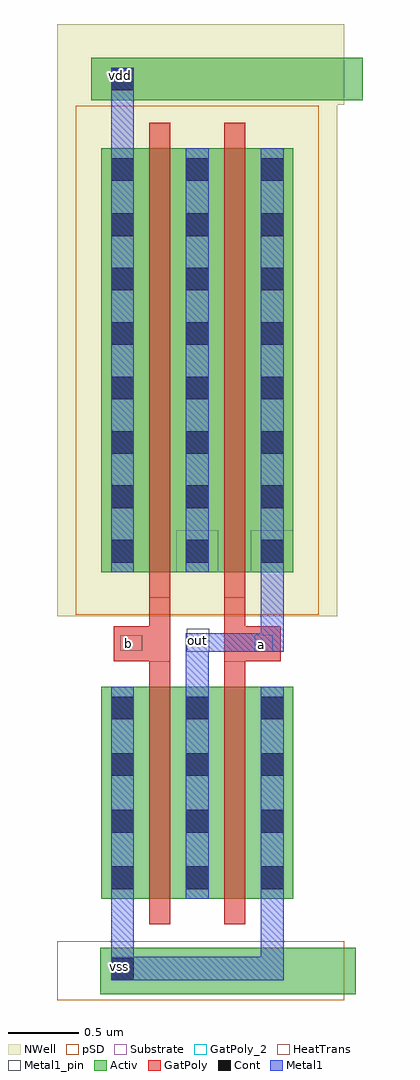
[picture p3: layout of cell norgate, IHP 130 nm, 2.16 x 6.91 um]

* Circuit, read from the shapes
.subckt norgate a b out vdd vss
XM1 out b vss vss sg13_lv_nmos w=1.5u l=0.15u
XM2 vss a out vss sg13_lv_nmos w=1.5u l=0.15u
XM3 n1 b vdd vdd sg13_lv_pmos w=3u l=0.15u
XM4 out a n1 vdd sg13_lv_pmos w=3u l=0.15u
.ends

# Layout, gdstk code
from math import pi, radians
import gdstk
lib = gdstk.Library(unit=1e-6, precision=5e-09)
def R(c, l, rs):  # rectangles x0, y0, x1, y1
    for r in rs: c.add(gdstk.rectangle(r[:2], r[2:], *l))
def A(c, l, x, y, w, h, nx, ny, dx, dy):  # array of equal rectangles
    R(c, l, [(x+i*dx, y+j*dy, x+i*dx+w, y+j*dy+h) for i in range(nx) for j in range(ny)])
Activ = (1, 0)
GatPoly = (5, 0)
GatPoly_2 = (5, 2)
Cont = (6, 0)
Metal1 = (8, 0)
Metal1_pin = (8, 2)
pSD = (14, 0)
NWell = (31, 0)
Substrate = (40, 0)
HeatTrans = (51, 0)

nmos_1 = lib.new_cell('nmos$1')
R(nmos_1, Activ, [(0,0,0.3,0.3), (0,0,0.83,1.5), (0.53,0,0.83,0.3)])
R(nmos_1, GatPoly, [(0.34,-0.18,0.49,1.68)])
R(nmos_1, GatPoly_2, [(0.34,-0.18,0.49,1.68)])
A(nmos_1, Cont, 0.07, 0.07, 0.16, 0.16, 1, 4, 0, 0.4)
A(nmos_1, Cont, 0.6, 0.07, 0.16, 0.16, 1, 4, 0, 0.4)
R(nmos_1, Metal1, [(0.07,0,0.23,1.5), (0.6,0,0.76,1.5)])
R(nmos_1, Metal1_pin, [(0.07,0,0.23,1.5), (0.6,0,0.76,1.5)])
R(nmos_1, HeatTrans, [(0.34,-0.18,0.49,1.68)])
nmos_1.add(gdstk.Label('nmos', (0.415,0.75), layer=63, texttype=0))
nmos_1.add(gdstk.Label('nmos', (0.415,0.75), layer=51, texttype=0))

pmos_5 = lib.new_cell('pmos$5')
R(pmos_5, Activ, [(0,0,0.3,0.3), (0,0,0.83,3), (0.53,0,0.83,0.3)])
R(pmos_5, GatPoly, [(0.34,-0.18,0.49,3.18), (0.34,-0.18,0.49,3.18)])
A(pmos_5, Cont, 0.07, 0.07, 0.16, 0.16, 1, 7, 0, 0.385)
A(pmos_5, Cont, 0.6, 0.07, 0.16, 0.16, 1, 7, 0, 0.385)
R(pmos_5, Cont, [(0.07,2.77,0.23,2.93), (0.6,2.77,0.76,2.93)])
R(pmos_5, Metal1, [(0.07,0,0.23,3), (0.07,0,0.23,3), (0.6,0,0.76,3), (0.6,0,0.76,3)])
R(pmos_5, pSD, [(-0.18,-0.3,1.01,3.3)])
R(pmos_5, NWell, [(-0.31,-0.31,1.14,3.31)])
R(pmos_5, Substrate, [(0.53,0,0.83,0.3)])
R(pmos_5, HeatTrans, [(0.34,-0.18,0.49,3.18)])
pmos_5.add(gdstk.Label('pmos', (0.415,1.5), layer=63, texttype=0))
pmos_5.add(gdstk.Label('pmos', (0.415,1.5), layer=51, texttype=0))

norgate = lib.new_cell('norgate')
R(norgate, Activ, [(-0.62,-2.62,1.185,-2.29), (-0.685,3.705,1.235,4.005)])
R(norgate, GatPoly, [(-0.525,-0.265,-0.125,-0.015), (-0.275,-0.265,-0.125,0.185), (0.255,-0.265,0.405,0.185), (0.255,-0.265,0.655,-0.015)])
R(norgate, GatPoly_2, [(0.47,-0.195,0.6,-0.075), (-0.48,-0.19,-0.325,-0.08)])
R(norgate, Cont, [(-0.545,-2.52,-0.385,-2.36), (-0.545,3.775,-0.385,3.935)])
R(norgate, Metal1, [(-0.545,-2.52,-0.385,-0.445), (-0.545,-2.52,0.675,-2.355), (0.515,-2.52,0.675,-0.445), (-0.015,-0.445,0.145,-0.065), (-0.015,-0.195,0.675,-0.065), (0.515,-0.195,0.675,0.365), (-0.545,0.365,-0.385,2.435), (-0.545,3.365,-0.385,3.935)])
R(norgate, Metal1_pin, [(-0.545,-2.52,-0.385,-2.355), (-0.01,-0.195,0.15,-0.035), (-0.545,3.775,-0.385,3.935)])
R(norgate, pSD, [(-0.925,-2.66,1.105,-2.245)])
R(norgate, NWell, [(-0.925,3.675,1.105,4.245)])
norgate.add(gdstk.Reference(nmos_1, (0.745,-0.445), rotation=pi))
norgate.add(gdstk.Reference(pmos_5, (-0.085,0.365)))
norgate.add(gdstk.Reference(pmos_5, (-0.615,0.365)))
norgate.add(gdstk.Reference(nmos_1, (-0.615,-1.945)))
norgate.add(gdstk.Label('vdd', (-0.475,3.88), layer=8, texttype=2))
norgate.add(gdstk.Label('out', (0.07,-0.115), layer=8, texttype=2))
norgate.add(gdstk.Label('vss', (-0.485,-2.425), layer=8, texttype=2))
norgate.add(gdstk.Label('b', (-0.42,-0.14), layer=5, texttype=2))
norgate.add(gdstk.Label('a', (0.52,-0.145), layer=5, texttype=2))

lib.write_gds('norgate.gds')
